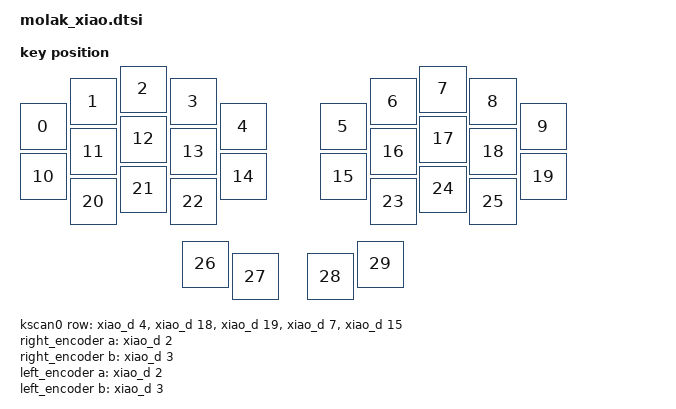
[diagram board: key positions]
#include <dt-bindings/zmk/matrix_transform.h>

/ {
    chosen {
        zmk,kscan = &kscan0;
        zmk,physical-layout = &layout_molak_xiao;
    };

    default_transform: keymap_transform_0 {
        compatible = "zmk,matrix-transform";
        columns = <16>;
        rows = <5>;
// | SW6  | SW5  | SW4  | SW3  | SW2  | SW1  |                 | SW1  | SW2  | SW3  | SW4  | SW5  | SW6  |
// | SW12 | SW11 | SW10 | SW9  | SW8  | SW7  |                 | SW7  | SW8  | SW9  | SW10 | SW11 | SW12 |
// | SW18 | SW17 | SW16 | SW15 | SW14 | SW13 |                 | SW13 | SW14 | SW15 | SW16 | SW17 | SW18 |
// | SW24 | SW23 | SW22 | SW21 | SW20 | SW19 | SW25 |   | SW25 | SW19 | SW20 | SW21 | SW22 | SW23 | SW24 |
//                      | SW29 | SW28 | SW27 | SW26 |   | SW26 | SW27 | SW28 | SW29 |
//         map = <
// RC(0,0) RC(0,1) RC(0,2) RC(0,3) RC(0,4) RC(0,5)                 RC(0,6) RC(0,7) RC(0,8) RC(0,9) RC(0,10) RC(0,11)
// RC(1,0) RC(1,1) RC(1,2) RC(1,3) RC(1,4) RC(1,5)                 RC(1,6) RC(1,7) RC(1,8) RC(1,9) RC(1,10) RC(1,11)
// RC(2,0) RC(2,1) RC(2,2) RC(2,3) RC(2,4) RC(2,5)                 RC(2,6) RC(2,7) RC(2,8) RC(2,9) RC(2,10) RC(2,11)
// RC(3,0) RC(3,1) RC(3,2) RC(3,3) RC(3,4) RC(3,5) RC(4,5) RC(4,6) RC(3,6) RC(3,7) RC(3,8) RC(3,9) RC(3,10) RC(3,11)
//                         RC(4,1) RC(4,2) RC(4,3) RC(4,4) RC(4,7) RC(4,8) RC(4,9) RC(4,10)
//         >;
    map = <
        RC(0,6) RC(0,7) RC(0,8) RC(0,9) RC(0,10) RC(0,11)
        >;
    };

    kscan0: kscan {
        compatible = "zmk,kscan-gpio-matrix";
        wakeup-source;

        diode-direction = "col2row";
        row-gpios
            = <&xiao_d 4 (GPIO_ACTIVE_HIGH | GPIO_PULL_DOWN)>
            , <&xiao_d 18 (GPIO_ACTIVE_HIGH | GPIO_PULL_DOWN)>
            , <&xiao_d 19 (GPIO_ACTIVE_HIGH | GPIO_PULL_DOWN)>
            , <&xiao_d 7 (GPIO_ACTIVE_HIGH | GPIO_PULL_DOWN)>
            , <&xiao_d 15 (GPIO_ACTIVE_HIGH | GPIO_PULL_DOWN)>
            ;

    };

    right_encoder: encoder_right {
        compatible = "alps,ec11";
        a-gpios = <&xiao_d 2 (GPIO_ACTIVE_HIGH | GPIO_PULL_UP)>;
        b-gpios = <&xiao_d 3 (GPIO_ACTIVE_HIGH | GPIO_PULL_UP)>;
        steps = <24>;
    };

    left_encoder: encoder_left {
        compatible = "alps,ec11";
        a-gpios = <&xiao_d 2 (GPIO_ACTIVE_HIGH | GPIO_PULL_UP)>;
        b-gpios = <&xiao_d 3 (GPIO_ACTIVE_HIGH | GPIO_PULL_UP)>;
        steps = <24>;
    };

    sensors: sensors {
        compatible = "zmk,keymap-sensors";
        sensors = <&right_encoder &left_encoder>;
        triggers-per-rotation = <20>;
    };
};

layout_molak_xiao: layout_molak_xiao {
    compatible = "zmk,physical-layout";
    transform = <&default_transform>;
    kscan = <&kscan0>;
        keys  //                     w   h    x    y     rot    rx    ry
            = <&key_physical_attrs 100 100    0   75       0     0     0>
            , <&key_physical_attrs 100 100  100   25       0     0     0>
            , <&key_physical_attrs 100 100  200    0       0     0     0>
            , <&key_physical_attrs 100 100  300   25       0     0     0>
            , <&key_physical_attrs 100 100  400   75       0     0     0>
            , <&key_physical_attrs 100 100  600   75       0     0     0>
            , <&key_physical_attrs 100 100  700   25       0     0     0>
            , <&key_physical_attrs 100 100  800    0       0     0     0>
            , <&key_physical_attrs 100 100  900   25       0     0     0>
            , <&key_physical_attrs 100 100 1000   75       0     0     0>
            , <&key_physical_attrs 100 100    0  175       0     0     0>
            , <&key_physical_attrs 100 100  100  125       0     0     0>
            , <&key_physical_attrs 100 100  200  100       0     0     0>
            , <&key_physical_attrs 100 100  300  125       0     0     0>
            , <&key_physical_attrs 100 100  400  175       0     0     0>
            , <&key_physical_attrs 100 100  600  175       0     0     0>
            , <&key_physical_attrs 100 100  700  125       0     0     0>
            , <&key_physical_attrs 100 100  800  100       0     0     0>
            , <&key_physical_attrs 100 100  900  125       0     0     0>
            , <&key_physical_attrs 100 100 1000  175       0     0     0>
            , <&key_physical_attrs 100 100  100  225       0     0     0>
            , <&key_physical_attrs 100 100  200  200       0     0     0>
            , <&key_physical_attrs 100 100  300  225       0     0     0>
            , <&key_physical_attrs 100 100  700  225       0     0     0>
            , <&key_physical_attrs 100 100  800  200       0     0     0>
            , <&key_physical_attrs 100 100  900  225       0     0     0>
            , <&key_physical_attrs 100 100  325  350       0     0     0>
            , <&key_physical_attrs 100 100  425  375       0     0     0>
            , <&key_physical_attrs 100 100  575  375       0     0     0>
            , <&key_physical_attrs 100 100  675  350       0     0     0>
            ;
};
